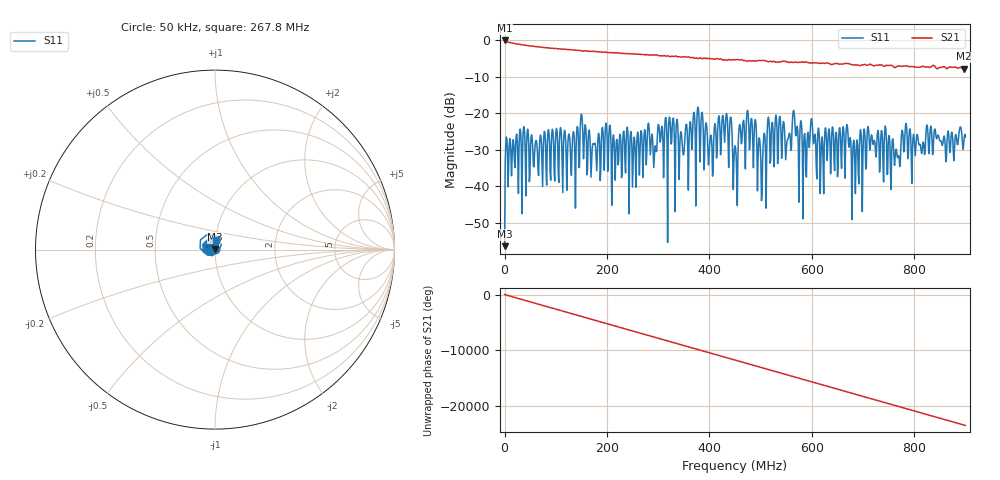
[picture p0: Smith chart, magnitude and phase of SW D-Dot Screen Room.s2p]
! NanoVNA-App
! Date: 2026-10-30 14:44:47
! Start: 50kHz Stop: 900MHz Points: 801
! S-Parameter data: F S11 S21 S12 S22
# Hz S RI R 50
!  Frequency  S11_Real  S11_Imag  S21_Real  S21_Imag  S12_Real  S12_Imag  S22_Real  S22_Imag
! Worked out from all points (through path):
!   801 points, 50 kHz to 900 MHz, reference 50 ohm
!   highest |S21| = -0.04 dB at 50 kHz (marker M1); lowest = -7.8 dB at 896.6 MHz (marker M2)
!   lowest |S11| = -56.3 dB at 50 kHz (marker M3), VSWR 1.00, Z = 50.1 + j0.126 ohm
!   |S11| at or under -10 dB: start of sweep to end of sweep
!   S12 and S22 are empty: the file has one direction only
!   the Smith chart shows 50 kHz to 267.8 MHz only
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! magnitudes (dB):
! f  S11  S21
! 50 kHz  -56.3  0.0
! 6.8 MHz  -40.1  -0.5
! 150.8 MHz  -20.4  -2.9
! 246.4 MHz  -24.9  -3.7
! 300.4 MHz  -23.0  -4.1
! 381.4 MHz  -33.3  -4.8
! 402.8 MHz  -25.9  -5.0
! 429.8 MHz  -27.9  -5.3
! 450 MHz  -28.9  -5.3
! 477 MHz  -23.8  -5.6
! 498.4 MHz  -27.3  -5.5
! 518.6 MHz  -33.6  -5.7
! 567 MHz  -22.6  -6.0
! 586.1 MHz  -25.5  -6.0
! 600.8 MHz  -22.5  -6.2
! 619.9 MHz  -26.4  -6.3
! 671.6 MHz  -28.0  -6.4
! 681.8 MHz  -27.4  -6.7
! 713.3 MHz  -30.0  -6.6
! 750.4 MHz  -26.1  -6.9
! 896.6 MHz  -28.4  -7.8
! 900 MHz  -26.5  -7.6
